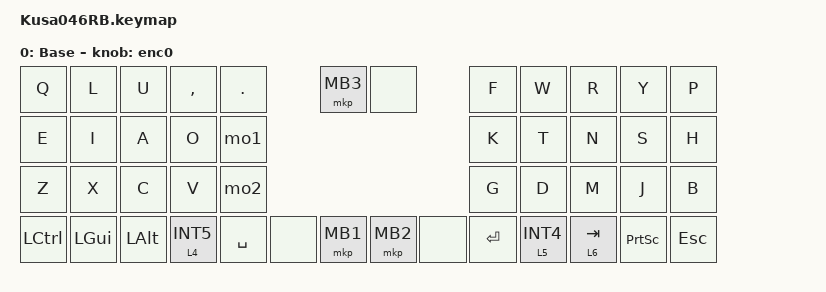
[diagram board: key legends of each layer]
#include <behaviors.dtsi>
#include <dt-bindings/zmk/keys.h>
#include <dt-bindings/zmk/bt.h>
#include <dt-bindings/zmk/outputs.h>
#include <dt-bindings/zmk/pointing.h>

// OS設定を日本語キーボードのまま使用するための変換定義
#define JP_DQUOTE       AT                // "
#define JP_AMPERSAND    CARET             // &
#define JP_QUOTE        AMPERSAND         // '
#define JP_EQUAL        UNDER             // =
#define JP_CARET        EQUAL             // ^
#define JP_YEN          0x89              // ¥
#define JP_PLUS         COLON             // +
#define JP_TILDE        PLUS              // ~
#define JP_PIPE         LS(0x89)          // |
#define JP_AT           LEFT_BRACKET      // @
#define JP_COLON        SINGLE_QUOTE      // :
#define JP_ASTERISK     DOUBLE_QUOTES     // *
#define JP_BACKQUOTE    LEFT_BRACE        // `
#define JP_UNDERSCORE   LS(0x87)          // _
#define JP_LBRACKET     RIGHT_BRACKET     // [
#define JP_RBRACKET     BACKSLASH         // ]
#define JP_LPAREN       ASTERISK          // (
#define JP_RPAREN       LEFT_PARENTHESIS  // )
#define JP_LBRACE       RIGHT_BRACE       // {
#define JP_RBRACE       PIPE              // }
#define JP_KANA         LANGUAGE_1        // かな
#define JP_EISU         LANGUAGE_2        // 英数
#define JP_HANZEN       GRAVE             // 半角/全角
#define JP_MHEN         INT5              // Muhenkan (無変換)
#define JP_HENK         INT4              // Henkan (変換)

// -(=), ;(+)の対策用modmorph

/ {
    behaviors {
        mo1: mod-morph-1 {
            compatible = "zmk,behavior-mod-morph";
            #binding-cells = <0>;
            bindings = <&kp MINUS>, <&kp EQUAL>;
            mods = <(MOD_LSFT|MOD_RSFT)>;
        };
        mo2: mod-morph-2 {
            compatible = "zmk,behavior-mod-morph";
            #binding-cells = <0>;
            bindings = <&kp SEMI>, <&kp PLUS>;
            mods = <(MOD_LSFT|MOD_RSFT)>;
        };
// CAPSをいい感じに押し込める        
        mo3: mod-morph-3 {
            compatible = "zmk,behavior-mod-morph";
            #binding-cells = <0>;
            bindings = <&lt 6 TAB>, <&kp CAPS>;
            mods = <(MOD_LSFT|MOD_RSFT)>;
        };
// encorderのレイヤー切り替え
        enc0: encoder-0 {
            compatible = "zmk,behavior-sensor-rotate";
            #sensor-binding-cells = <0>;
            bindings = <&mkp MB4>, <&mkp MB5>;
        };
    };
};



    keymap {
        compatible = "zmk,keymap";

        default_layer { // layer 0
            display-name = "Base";

            bindings = <
                &kp Q     &kp L    &kp U    &kp COMMA     &kp DOT          &mkp MB3 &none          &kp F   &kp W          &kp R     &kp Y     &kp P
                &kp E     &kp I    &kp A    &kp O         &mo1                                     &kp K   &kp T          &kp N     &kp S     &kp H
                &kp Z     &kp X    &kp C    &kp V         &mo2                                     &kp G   &kp D          &kp M     &kp J     &kp B
                &kp LCTRL &kp LGUI &kp LALT &lt 4 JP_MHEN &kp SPACE &none  &mkp MB1 &mkp MB2 &none &kp RET &lt 5 JP_HENK  &lt 6 TAB &kp PSCRN &kp ESC
            >;    
            sensor-bindings = <&enc0>;
        };
    };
